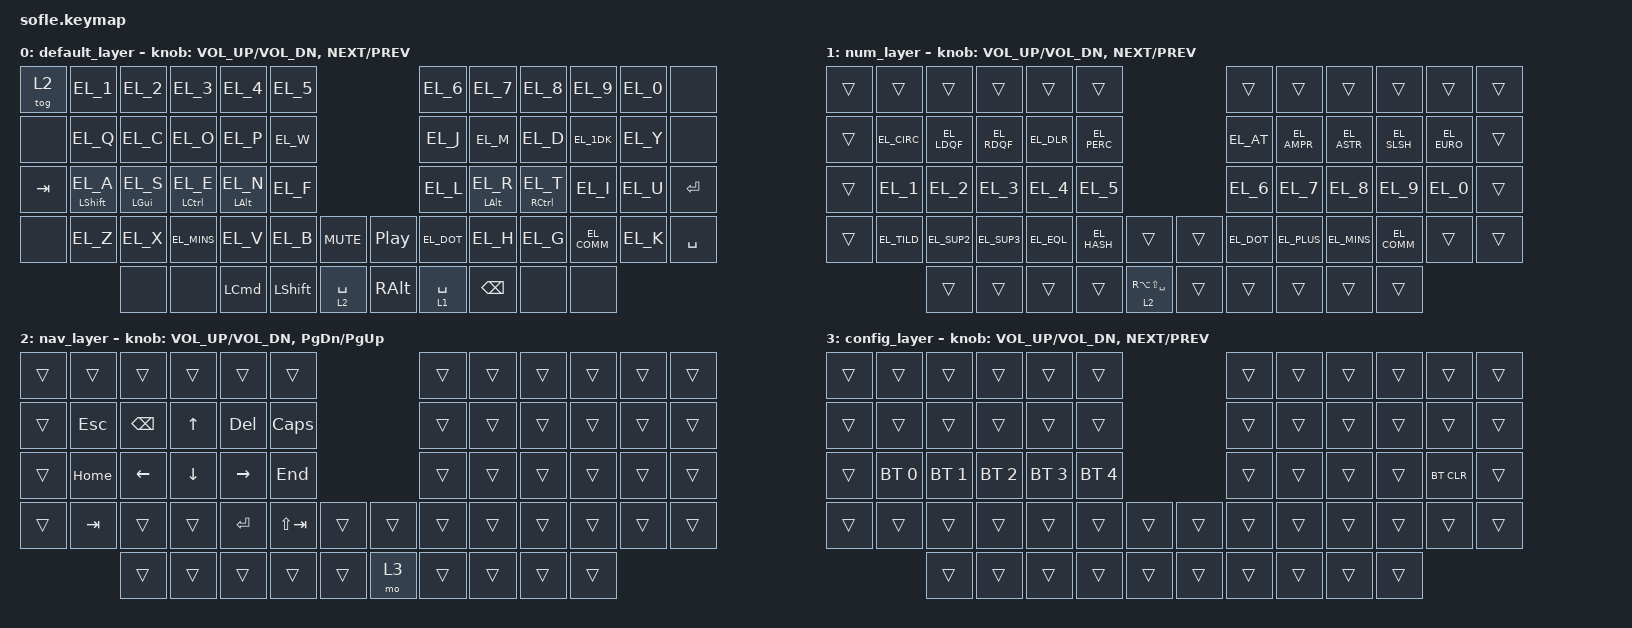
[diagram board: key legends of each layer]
/*
 * Copyright (c) 2020 The ZMK Contributors
 *
 * SPDX-License-Identifier: MIT
 */

#include <behaviors.dtsi>
#include <dt-bindings/zmk/keys.h>
#include <dt-bindings/zmk/bt.h>

#include "keymap_ergol.h"

#define xxx &none
#define ___ &trans 

/ {
    behaviors {
        hm: homerow_mods {
            compatible = "zmk,behavior-hold-tap";
            label = "HOMEROW_MODS";
            #binding-cells = <2>;
            tapping-term-ms = <200>;    // <---[[moderate duration]]
            quick-tap-ms = <0>;
            flavor = "balanced";
            bindings = <&kp>, <&kp>;
        };
        mo_tog: behavior_mo_tog {
            compatible = "zmk,behavior-hold-tap";
            label = "mo_tog";
            #binding-cells = <2>;        
            tapping-term-ms = <200>;
            flavor = "hold-preferred";
            bindings = <&mo>, <&tog>;
        };
    };

//    conditional_layers {
//        compatible = "zmk,conditional-layers";
//        tri_layer {
//            if-layers = <1 2>;
//            then-layer = <3>;
//        };
//    };

    keymap {
        compatible = "zmk,keymap";

        default_layer {
// ----------------------------------------------------------------------------------------
// |     |  1  |  2  |  3  |  4  |  5  |              |  6  |  7  |  8  |  9  |  0  |     |
// |     |  Q  |  C  |  O  |  P  |  W  |              |  J  |  M  |  D  | 1dk |  Y  |     | 
// | TAB |  A  |  S  |  E  |  N  |  F  |              |  L  |  R  |  T  |  I  |  U  | RET |
// |     |  Z  |  X  |  -  |  V  |  B  | MUT |  | P/P |  .  |  H  |  G  |  ,  |  K  |     |
//             |     |     |     | SFT | nav |  | num | SPC | BCK |     |     |
            bindings = <
&tog 2   &kp EL_1        &kp EL_2       &kp EL_3        &kp EL_4       &kp EL_5                          &kp EL_6     &kp EL_7       &kp EL_8        &kp EL_9     &kp EL_0  xxx
xxx      &kp EL_Q        &kp EL_C       &kp EL_O        &kp EL_P       &kp EL_W                          &kp EL_J     &kp EL_M       &kp EL_D        &kp EL_1DK   &kp EL_Y  xxx
&kp TAB  &hm LSHFT EL_A  &hm LGUI EL_S  &hm LCTRL EL_E  &hm LALT EL_N  &kp EL_F                          &kp EL_L     &hm LALT EL_R  &hm RCTRL EL_T  &kp EL_I     &kp EL_U  &kp RET
xxx      &kp EL_Z        &kp EL_X       &kp EL_MINS     &kp EL_V       &kp EL_B   &kp C_MUTE   &kp C_PP  &kp EL_DOT   &kp EL_H       &kp EL_G        &kp EL_COMM  &kp EL_K  &kp SPACE
                         xxx            xxx             &kp LCMD       &kp LSHFT  &lt 2 SPACE  &kp RALT  &lt 1 SPACE  &kp BSPC       xxx             xxx
           >;

           sensor-bindings = <&inc_dec_kp C_VOL_UP C_VOL_DN &inc_dec_kp C_NEXT C_PREV>;
        };

        num_layer {
// ----------------------------------------------------------------------------------------
// |     |     |     |     |     |     |              |     |     |     |     |     |     |
// |     |  ^  |  «  |  »  |  $  |  %  |              |  @  |  &  |  *  |  /  |  €  |     |
// |     |  1  |  2  |  3  |  4  |  5  |              |  6  |  7  |  8  |  9  |  0  |     |
// |     |  ~  |  ²  |  ³  |  =  |  #  |     |  |     |  .  |  +  |  -  |  ,  |  °  |     |
//             |     |     |     |     | nav |  | -X- |     |     |     |     |
            bindings = <
___  ___          ___          ___          ___         ___                                    ___         ___          ___          ___          ___          ___
___  &kp EL_CIRC  &kp EL_LDQF  &kp EL_RDQF  &kp EL_DLR  &kp EL_PERC                            &kp EL_AT   &kp EL_AMPR  &kp EL_ASTR  &kp EL_SLSH  &kp EL_EURO  ___
___  &kp EL_1     &kp EL_2     &kp EL_3     &kp EL_4    &kp EL_5                               &kp EL_6    &kp EL_7     &kp EL_8     &kp EL_9     &kp EL_0     ___
___  &kp EL_TILD  &kp EL_SUP2  &kp EL_SUP3  &kp EL_EQL  &kp EL_HASH  ___                  ___  &kp EL_DOT  &kp EL_PLUS  &kp EL_MINS  &kp EL_COMM  ___          ___
                  ___          ___          ___         ___          &lt 2 RA(LS(SPACE))  ___  ___         ___       ___         ___     
            >;

            sensor-bindings = <&inc_dec_kp C_VOL_UP C_VOL_DN &inc_dec_kp C_NEXT C_PREV>;
        };

        nav_layer {
// ----------------------------------------------------------------------------------------
// |     |     |     |     |     |     |              |     |     |     |     |     |     |
// |     | ESC | BCK |  ^  | DEL | CPL |              |     |     |     |     |     |     |
// |     | HOM |  <- |  v  | ->  | END |              |     |     |     |     |     |     |
// |     | TAB |     |     | RET | STB |     |  |     |     |     |     |     |     |     |
//             |     |     |     |     | -X- |  | cnf |     |     |     |     |
            bindings = <
___  ___       ___       ___       ___        ___                      ___   ___  ___  ___  ___  ___
___  &kp ESC   &kp BSPC  &kp UP    &kp DEL    &kp CAPS                 ___   ___  ___  ___  ___  ___
___  &kp HOME  &kp LEFT  &kp DOWN  &kp RIGHT  &kp END                  ___   ___  ___  ___  ___  ___
___  &kp TAB   ___       ___       &kp RET    &kp LS(TAB)  ___  ___    ___   ___  ___  ___  ___  ___
               ___       ___       ___        ___          ___  &mo 3  ___   ___  ___  ___     
            >;

            sensor-bindings = <&inc_dec_kp C_VOL_UP C_VOL_DN &inc_dec_kp PG_DN PG_UP>;
        };

        config_layer {
// --------------------------------------------------------------------------------------------
// |     |     |     |     |     |     |                  |     |     |     |     |     |     |
// |     |     |     |     |     |     |                  |     |     |     |     |     |     |
// |     | BT1 | BT2 | BT3 | BT4 | BT5 |                  |     |     |     |     |BTCLR|     |
// |     |     |     |     |     |     |       |  |       |     |     |     |     |     |     |
//             |     |     |     |     |       |  |       |     |     |     |     |
            bindings = <
___  ___           ___           ___           ___           ___                     ___  ___  ___  ___  ___        ___  
___  ___           ___           ___           ___           ___                     ___  ___  ___  ___  ___        ___
___  &bt BT_SEL 0  &bt BT_SEL 1  &bt BT_SEL 2  &bt BT_SEL 3  &bt BT_SEL 4            ___  ___  ___  ___  &bt BT_CLR ___
___  ___           ___           ___           ___           ___           ___  ___  ___  ___  ___  ___  ___        ___ 
                   ___           ___           ___           ___           ___  ___  ___  ___  ___  ___      
            >;

            sensor-bindings = <&inc_dec_kp C_VOL_UP C_VOL_DN &inc_dec_kp C_NEXT C_PREV>;
        };
    };
};


